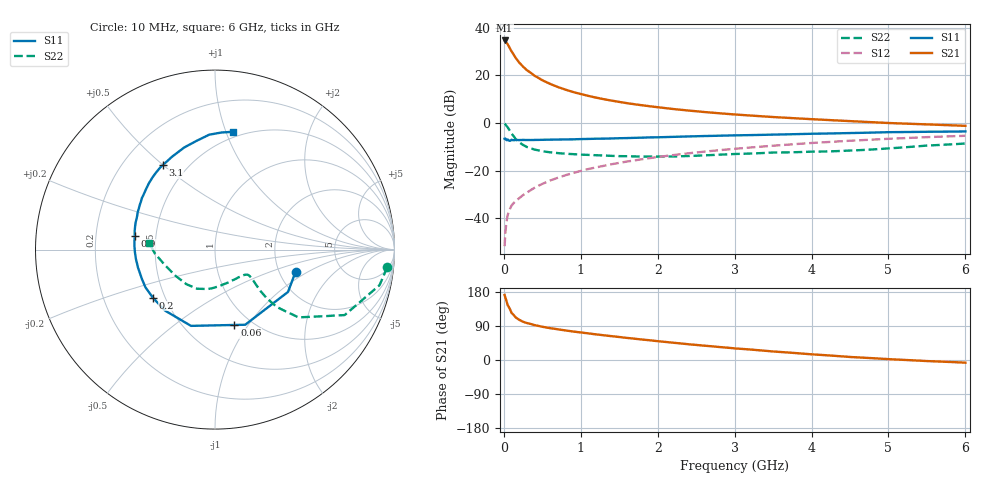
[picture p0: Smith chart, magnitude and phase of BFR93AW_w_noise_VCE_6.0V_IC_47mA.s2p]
! (c) 2017  Infineon Technologies AG, Munich
! Infineon Technologies  Discrete & RF Semiconductors
! BFR93AW
! VCE =  6.0 V,  IC =  47 mA
! Common Emitter S-Parameters:  Jan 2017
# GHz  S  MA  R  50
!  f  S11  S21  S12  S22
! GHz  MAG  ANG  MAG  ANG  MAG  ANG  MAG  ANG
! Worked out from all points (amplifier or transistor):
!   77 points, 10 MHz to 6 GHz, reference 50 ohm
!   highest |S21| = 34.6 dB at 10 MHz (marker M1)
!   |S21| within 3 dB of that: start of sweep to 73.54 MHz
!   unconditionally stable (mu >= 1): 500.3 MHz to 2.035 GHz
!   at 130 MHz: K = 0.59, MSG = 31.1 dB, |S12| = -33.6 dB
!   at 2.2 GHz: K = 0.99, MSG = 9.7 dB, |S12| = -13.5 dB
!   at 6 GHz: K = 0.88, MSG = 2.1 dB, |S12| = -5.4 dB
!   lowest NFmin = 2.21 dB at 450 MHz
!   S11 on the Smith chart (normalised r, x): 10 MHz: 2.46, -0.77; 60 MHz: 0.84, -0.86; 200 MHz: 0.43, -0.28; 900 MHz: 0.38, +0.07; 3.1 GHz: 0.37, +0.50; 6 GHz: 0.45, +1.06
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0.01  0.4657 -15.2  53.88 171.6  0.0026 76.8  0.9644 -5.9
0.02  0.4702 -30.1  53.24 164.2  0.0051 84.1  0.938 -12.2
0.05  0.4512 -68.1  44.77 144.5  0.0117 68.2  0.8091 -26.8
0.06  0.4335 -75.6  41.86 141.5  0.013 66.3  0.7648 -28.7
0.1  0.4455 -107.5  31.91 124.2  0.0185 61.5  0.599 -39.1
0.15  0.4395 -129.5  23.65 113.0  0.0227 61.9  0.4689 -42.9
0.2  0.4376 -142.4  18.52 106.1  0.0264 62.0  0.3929 -43.2
0.25  0.4408 -151.5  15.19 100.9  0.0307 63.9  0.3459 -42.4
0.3  0.4389 -157.9  12.8 97.5  0.0345 65.5  0.3131 -41.1
0.4  0.4406 -166.8  9.794 91.9  0.0438 69.2  0.2764 -39.1
0.5  0.4437 -173.3  7.887 87.7  0.0526 69.8  0.2557 -37.9
0.6  0.4466 -178.4  6.628 84.1  0.062 70.0  0.2425 -37.3
0.7  0.4492 177.6  5.701 81.1  0.0706 71.4  0.2335 -37.3
0.9  0.4536 170.3  4.465 75.2  0.0891 71.6  0.2218 -39.1
1.1  0.4629 164.2  3.696 70.2  0.1084 71.2  0.2137 -41.9
1.3  0.4693 158.8  3.154 65.2  0.1262 70.3  0.2076 -45.9
1.5  0.4786 154.1  2.764 60.7  0.1455 69.2  0.2016 -51.0
2.1  0.5058 140.8  2.051 47.7  0.2023 64.5  0.1975 -70.6
3.1  0.5529 121.9  1.472 29.2  0.2961 55.5  0.2255 -103.5
4.1  0.5973 105.4  1.179 13.7  0.3885 45.3  0.251 -133.0
5.1  0.643 91.6  0.985 1.3  0.4728 34.2  0.2999 -166.0
6  0.664 81.3  0.871 -7.0  0.5389 24.1  0.3703 173.9
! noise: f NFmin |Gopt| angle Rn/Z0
0.45  2.21  0.25  -178  0.17
0.9  2.51  0.3  -168  0.17
1.9  3.61  0.53  -132  0.4
2.4  4.34  0.57  -122  0.75
